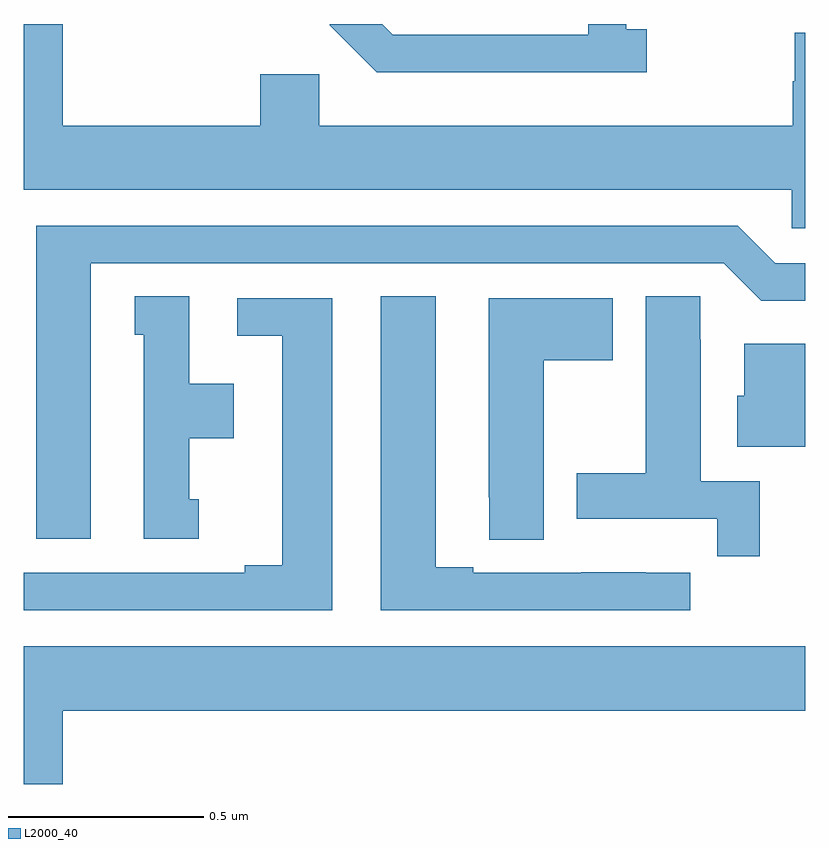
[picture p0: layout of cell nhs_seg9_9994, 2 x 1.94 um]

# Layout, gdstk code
import gdstk
lib = gdstk.Library(unit=1e-6, precision=1e-09)
def P(c, l, *ps):  # polygons
    for p in ps: c.add(gdstk.Polygon(p, *l))
L2000_40 = (2000, 40)

nhs_seg9_9994 = lib.new_cell('nhs_seg9_9994')
P(nhs_seg9_9994, L2000_40, [(239,1207.478),(238.972,1207.478),(238.972,1207.353),(238.967,1207.353),(238.967,1207.24),(237.756,1207.24),(237.756,1207.372),(237.605,1207.372),(237.605,1207.24),(237.1,1207.24),(237.1,1207.5),(237,1207.5),(237,1207.076),(238.965,1207.076),(238.965,1206.978),(239,1206.978)],
  [(238.594,1207.486),(238.542,1207.486),(238.542,1207.5),(238.445,1207.5),(238.445,1207.473),(237.945,1207.473),(237.918,1207.5),(237.783,1207.5),(237.783,1207.497),(237.904,1207.376),(238.594,1207.376)],
  [(237.172,1206.888),(238.791,1206.888),(238.887,1206.792),(239,1206.792),(239,1206.888),(238.923,1206.888),(238.827,1206.984),(237.032,1206.984),(237.032,1206.183),(237.172,1206.183)],
  [(237.448,1206.285),(237.424,1206.285),(237.424,1206.44),(237.538,1206.44),(237.538,1206.58),(237.424,1206.58),(237.424,1206.803),(237.284,1206.803),(237.284,1206.705),(237.308,1206.705),(237.308,1206.183),(237.448,1206.183)],
  [(238.705,1206.096),(238.592,1206.096),(238.592,1206.097),(238.426,1206.097),(238.426,1206.096),(238.15,1206.096),(238.15,1206.111),(238.054,1206.111),(238.054,1206.803),(237.914,1206.803),(237.914,1206),(238.705,1206)],
  [(238.883,1206.33),(238.732,1206.33),(238.732,1206.692),(238.731,1206.692),(238.731,1206.803),(238.592,1206.803),(238.592,1206.351),(238.415,1206.351),(238.415,1206.234),(238.774,1206.234),(238.774,1206.138),(238.883,1206.138)],
  [(238.33,1206.64),(238.507,1206.64),(238.507,1206.799),(238.19,1206.799),(238.19,1206.289),(238.191,1206.289),(238.191,1206.181),(238.33,1206.181)],
  [(237.79,1206.798),(237.546,1206.798),(237.546,1206.702),(237.662,1206.702),(237.662,1206.116),(237.566,1206.116),(237.566,1206.096),(237,1206.096),(237,1206),(237.79,1206)],
  [(239,1206.682),(238.844,1206.682),(238.844,1206.549),(238.826,1206.549),(238.826,1206.419),(239,1206.419)],
  [(237.1,1205.744),(239,1205.744),(239,1205.908),(237,1205.908),(237,1205.556),(237.1,1205.556)])

lib.write_gds('nhs_seg9_9994.gds')
